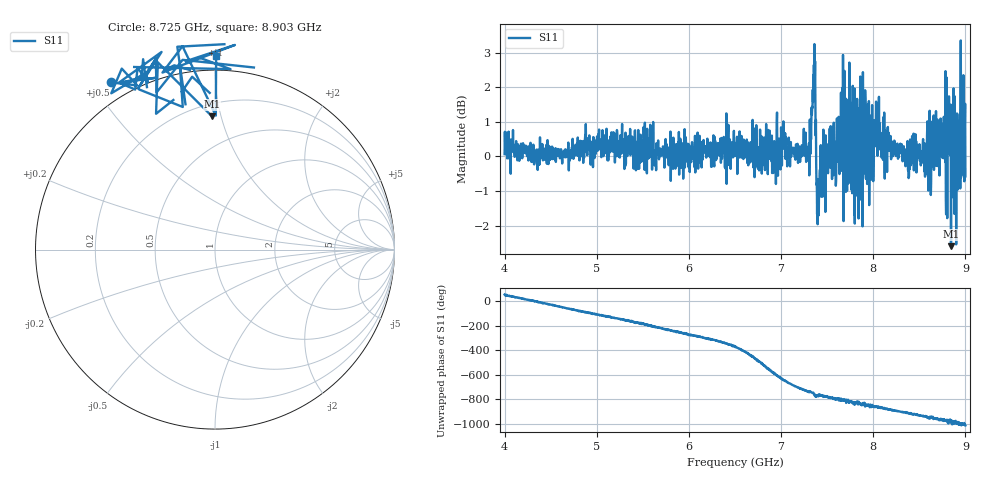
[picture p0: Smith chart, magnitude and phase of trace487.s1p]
! Created with skrf 1.8.0 (http://scikit-rf.org).
# Hz S RI R 50.0
!freq ReS11 ImS11
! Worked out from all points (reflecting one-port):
!   1601 points, 4 GHz to 9 GHz, reference 50 ohm
!   lowest |S11| = -2.6 dB at 8.844 GHz (marker M1), VSWR 6.76, Z = 14.2 + j46.9 ohm
!   phase of S11 starts at 53 deg and turns -1064 deg over the sweep
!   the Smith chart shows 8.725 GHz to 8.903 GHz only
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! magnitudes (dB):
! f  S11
! 4 GHz  0.1
! 4.625 GHz  -0.2
! 5.25 GHz  0.0
! 5.875 GHz  0.3
! 6.5 GHz  0.3
! 7.125 GHz  0.2
! 7.294 GHz  0.0
! 7.353 GHz  2.0
! 7.4 GHz  -0.7
! 7.409 GHz  -1.7
! 7.453 GHz  -0.7
! 7.609 GHz  0.2
! 7.647 GHz  0.2
! 7.75 GHz  0.4
! 7.788 GHz  -0.8
! 7.834 GHz  1.2
! 7.962 GHz  1.2
! 7.981 GHz  -0.7
! 8.05 GHz  0.9
! 8.375 GHz  0.1
! 8.622 GHz  -0.8
! 8.656 GHz  1.2
! 8.697 GHz  1.1
! 8.759 GHz  0.9
! 8.844 GHz  -2.6
! 8.919 GHz  -0.4
! 8.972 GHz  0.4
! 9 GHz  -0.6
